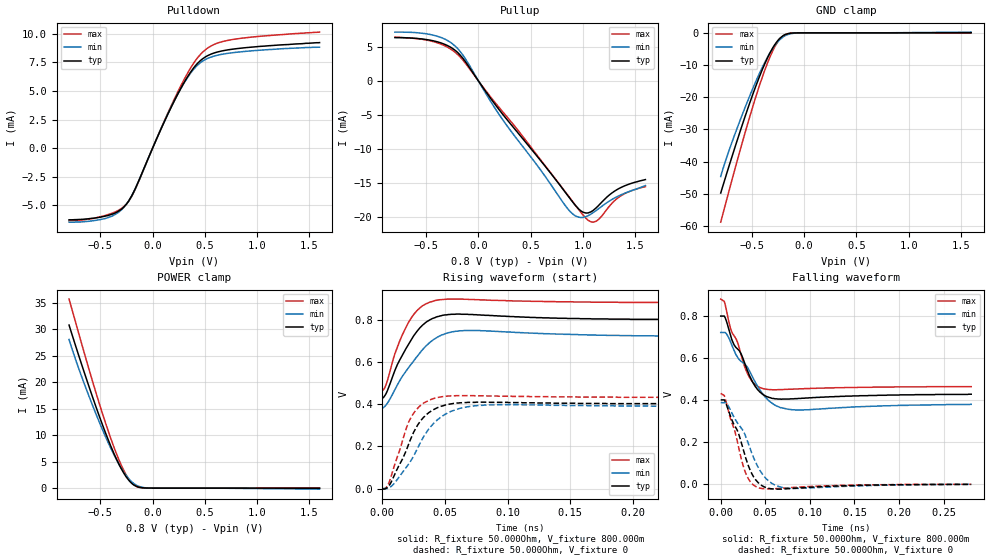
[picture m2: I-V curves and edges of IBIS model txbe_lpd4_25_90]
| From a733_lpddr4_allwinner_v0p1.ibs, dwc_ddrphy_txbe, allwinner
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[Model] txbe_lpd4_25_90
Model_type   I/O
Polarity   Non-Inverting
Enable   Active-High
C_comp   1.517pF   1.511pF   1.522pF
C_comp_pullup   270.162fF   267.821fF   272.553fF
C_comp_pulldown 1.188pF   1.182pF   1.190pF
Vinh = 500.000mV
Vinl = 390.000mV
Vmeas = 440.000mV
Vref = 440.000mV
Rref = 50Ohms
Cref = 0pF
[Model Spec]
Vinh   500.000mV   484.000mV   528.000mV
Vinl   390.000mV   364.000mV   408.000mV
Vmeas   440.000mV   424.000mV   468.000mV
Vref   440.000mV   424.000mV   468.000mV
D_overshoot_ampl_h 0.1 NA   NA
D_overshoot_ampl_l 0.1 NA   NA
D_overshoot_area_l 300.000m NA   NA
D_overshoot_area_h 300.000m NA   NA
[Receiver Thresholds]
Vth = 220.000mV
Vth_min = 212.000mV
Vth_max = 234.000mV
Vinh_ac = 60.000mV
Vinh_dc = 60.000mV
Vinl_ac = -60.000mV
Vinl_dc = -60.000mV
Tslew_ac = 5.000ns
Threshold_sensitivity = 0.5
Reference_supply Pullup_ref
[Temperature Range]   25.000   125.000   -40.000
[Voltage Range]   800.000mV   720.000mV   880.000mV
[GND Clamp Reference]   0.00V   0.00V   0.00V
[C Comp Corner]
| variable   typ   min   max
C_comp 1.517pF   1.522pF   1.511pF
C_comp_pullup 272.553fF   270.162fF   267.821fF
C_comp_pulldown 1.188pF   1.190pF   1.182pF
[Pulldown Reference]   0.00V   0.00V   0.00V
[POWER Clamp Reference]   800.000mV   720.000mV   880.000mV
[Pullup Reference]   800.000mV   720.000mV   880.000mV
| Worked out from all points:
|   slope of the pulldown table from 0 to 0.12 V, typ, clamps not added: 48.8 ohm
|   slope of the pullup table from 0 to 0.12 V, typ, clamps not added: 45.7 ohm
|   GND clamp passes 1 mA (typ) near -0.21 V on its own axis
|   POWER clamp passes 1 mA (typ) near -0.21 V on its own axis
|   rising waveform, R_fixture 50.000Ohm, V_fixture 800.000m: 20-80 % time 18.9ps typ, 23ps min, 16.3ps max; typ from 0.427 V to 0.8 V
|   rising waveform, R_fixture 50.000Ohm, V_fixture 0: 20-80 % time 19.8ps typ, 25.2ps min, 15.3ps max; typ from -0.002 V to 0.401 V
|   falling waveform, R_fixture 50.000Ohm, V_fixture 800.000m: 20-80 % time 24.1ps typ, 30.7ps min, 20ps max; typ from 0.801 V to 0.429 V
|   falling waveform, R_fixture 50.000Ohm, V_fixture 0: 20-80 % time 20.6ps typ, 26.4ps min, 16.5ps max; typ from 0.402 V to 0 V
[GND Clamp]
-800mV    -49.78mA   -44.63mA   -58.84mA
-750mV    -44.48mA   -39.38mA   -52.7mA
-650mV    -34.2mA    -30.24mA   -40.68mA
-520mV    -21.6mA    -19.43mA   -25.85mA
-430mV    -13.7mA    -12.65mA   -16.48mA
-350mV    -7.655mA   -7.453mA   -9.218mA
-300mV    -4.58mA    -4.761mA   -5.474mA
-250mV    -2.258mA   -2.648mA   -2.614mA
-200mV    -832.3uA   -1.214mA   -866.4uA
-130mV    -116uA     -272.2uA   -81.55uA
-30mV     -2.11uA    -9.03uA    -797.4nA
1.6V      40.14uA    239.4uA    14.5uA
[Power Clamp]
-800mV    30.77mA    28.05mA    35.67mA
-720mV    25.79mA    23.27mA    30.08mA
-620mV    19.81mA    17.91mA    23.17mA
-500mV    13.03mA    11.97mA    15.31mA
-400mV    7.917mA    7.517mA    9.355mA
-320mV    4.423mA    4.446mA    5.237mA
-270mV    2.644mA    2.852mA    3.114mA
-220mV    1.295mA    1.59mA     1.486mA
-180mV    590.9uA    864uA      634uA
-130mV    158.8uA    319.1uA    139.3uA
-30mV     3.389uA    12.27uA    1.826uA
1.6V      -29.15uA   -201.1uA   -7.249uA
[Pulldown]
-800mV    -6.26mA    -6.47mA    -6.34mA
-430mV    -5.89mA    -6.08mA    -5.81mA
-330mV    -5.528mA   -5.63mA    -5.446mA
-230mV    -4.639mA   -4.625mA   -4.652mA
-160mV    -3.423mA   -3.427mA   -3.484mA
90mV      1.861mA    1.879mA    1.912mA
260mV     5.052mA    5.037mA    5.258mA
390mV     6.983mA    6.863mA    7.388mA
510mV     8.008mA    7.78mA     8.644mA
610mV     8.388mA    8.11mA     9.155mA
780mV     8.681mA    8.37mA     9.53mA
1.6V      9.24mA     8.84mA     10.16mA
[Pullup]
-800mV    6.34mA     7.15mA     6.41mA
-400mV    5.752mA    6.571mA    5.617mA
-200mV    4.18mA     4.756mA    3.885mA
-130mV    2.931mA    3.366mA    2.701mA
240mV     -5.03mA    -5.845mA   -4.656mA
830mV     -16.28mA   -18.23mA   -16.22mA
930mV     -18.26mA   -19.79mA   -18.24mA
1.03V     -19.37mA   -19.9mA    -20.13mA
1.1V      -18.99mA   -19.31mA   -20.71mA
1.15V     -18.29mA   -18.76mA   -20.33mA
1.35V     -15.75mA   -16.81mA   -17mA
1.6V      -14.47mA   -15.34mA   -15.5mA
[Ramp]
R_load=50.000Ohm
dV/dt_r   230.961mV/20.500ps  217.869mV/25.000ps  253.488mV/17.000ps
dV/dt_f   230.961mV/23.000ps  217.869mV/29.500ps  253.494mV/19.500ps
[Rising waveform]
R_fixture=50.000Ohm
V_fixture=800.000m
V_fixture_min=720.000m
V_fixture_max=880.000m
0s        427mV      380mV      463mV
3ps       450mV      396mV      492mV
9ps       543mV      457mV      619mV
13ps      599mV      502mV      686mV
21ps      684mV      573mV      788mV
32ps      773mV      657mV      865mV
42ps      809mV      709mV      890mV
51ps      822mV      735mV      896mV
65ps      825mV      748mV      896mV
277ps     800mV      720mV      880mV
[Rising waveform]
R_fixture=50.000Ohm
V_fixture=0
0s        -2.079mV   314.7uV    -2.883mV
5ps       11.16mV    2.831mV    23.45mV
10ps      68.9mV     28.06mV    116mV
19ps      179mV      99.96mV    284mV
23ps      240mV      134mV      338mV
31ps      324mV      225mV      396mV
43ps      380mV      320mV      430mV
59ps      404mV      375mV      440mV
84ps      409mV      396mV      438mV
279ps     401mV      389mV      431mV
[Falling waveform]
R_fixture=50.000Ohm
V_fixture=800.000m
V_fixture_min=720.000m
V_fixture_max=880.000m
0s        801mV      723mV      882mV
4ps       801mV      723mV      871mV
11ps      709mV      678mV      742mV
19ps      644mV      604mV      674mV
29ps      552mV      563mV      537mV
39ps      464mV      484mV      474mV
47ps      429mV      431mV      456mV
62ps      407mV      374mV      450mV
84ps      408mV      354mV      454mV
281ps     429mV      381mV      465mV
[Falling waveform]
R_fixture=50.000Ohm
V_fixture=0
0s        402mV      389mV      433mV
4ps       402mV      389mV      423mV
7ps       372mV      384mV      377mV
20ps      242mV      285mV      178mV
28ps      126mV      228mV      53.39mV
35ps      49.84mV    147mV      3.5mV
42ps      8.035mV    80.88mV    -15.68mV
57ps      -21.26mV   5.601mV    -21.23mV
76ps      -20.76mV   -18.61mV   -16.22mV
281ps     -327.8uV   263.5uV    134.9uV
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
